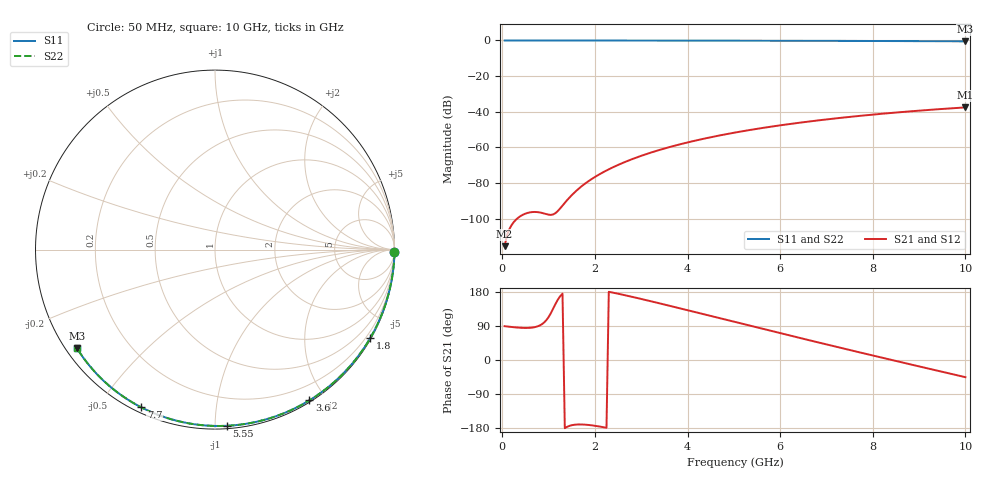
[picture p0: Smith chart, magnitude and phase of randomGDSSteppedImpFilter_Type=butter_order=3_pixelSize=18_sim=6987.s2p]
! freq	dB(S11)	phase(S11)	dB(S12)	phase(S12)
!  dB(S21)	phase(S21)	dB(S22)	phase(S22)
!S-par simulation data
#  GHz  S  DB  R 50
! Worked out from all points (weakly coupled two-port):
!   200 points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, 50 MHz to 10 GHz, reference 50 ohm
!   highest |S21| = -37.53 dB at 10 GHz (marker M1); lowest = -115.3 dB at 50 MHz (marker M2)
!   lowest |S11| = -0.5 dB at 10 GHz (marker M3), VSWR 35.64, Z = 1.55 - j16 ohm
!   |S11| at or under -10 dB: nowhere
!   |S22| runs from -0.5 to 0.0 dB; largest |S21 - S12| = 0
!   S11 on the Smith chart (normalised r, x): 50 MHz: open; 1.8 GHz: 0.03, -3.77; 3.6 GHz: 0.02, -1.81; 5.55 GHz: 0.02, -1.07; 7.7 GHz: 0.02, -0.64; 10 GHz: 0.03, -0.32
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0.05  -0.00 -0.8  -115.32 89.2  -115.32 89.2  -0.00 -0.8
0.45  -0.01 -7.5  -97.63 84.7  -97.63 84.7  -0.01 -7.5
0.9  -0.02 -15.0  -96.98 98.6  -96.98 98.6  -0.02 -15.0
1.3  -0.03 -21.6  -92.58 175.1  -92.58 175.1  -0.03 -21.6
1.75  -0.04 -28.9  -80.99 -170.3  -80.99 -170.3  -0.04 -28.9
1.8  -0.04 -29.7  -80.01 -170.7  -80.01 -170.7  -0.04 -29.7
1.95  -0.04 -32.1  -77.34 -172.7  -77.34 -172.7  -0.04 -32.1
2.1  -0.04 -34.5  -75.00 -175.5  -75.00 -175.5  -0.04 -34.5
2.3  -0.05 -37.7  -72.22 180.0  -72.22 180.0  -0.05 -37.7
2.5  -0.05 -40.9  -69.78 174.9  -69.78 174.9  -0.05 -40.9
2.9  -0.06 -47.2  -65.60 164.0  -65.60 164.0  -0.06 -47.2
3.4  -0.07 -54.9  -61.33 149.4  -61.33 149.4  -0.07 -54.9
3.6  -0.08 -57.9  -59.84 143.4  -59.84 143.4  -0.08 -57.9
4.3  -0.10 -68.4  -55.37 122.3  -55.37 122.3  -0.10 -68.4
5.05  -0.12 -79.2  -51.51 99.6  -51.51 99.6  -0.12 -79.2
5.55  -0.14 -86.3  -49.33 84.4  -49.33 84.4  -0.14 -86.3
6.1  -0.17 -93.8  -47.22 67.9  -47.22 67.9  -0.17 -93.9
6.7  -0.20 -101.9  -45.19 50.0  -45.19 50.0  -0.20 -102.0
7.7  -0.26 -115.1  -42.32 20.6  -42.32 20.6  -0.26 -115.1
8.35  -0.32 -123.4  -40.74 1.8  -40.74 1.8  -0.32 -123.5
9.2  -0.40 -134.2  -38.95 -22.6  -38.95 -22.6  -0.40 -134.3
10  -0.49 -144.4  -37.53 -45.3  -37.53 -45.3  -0.49 -144.4
